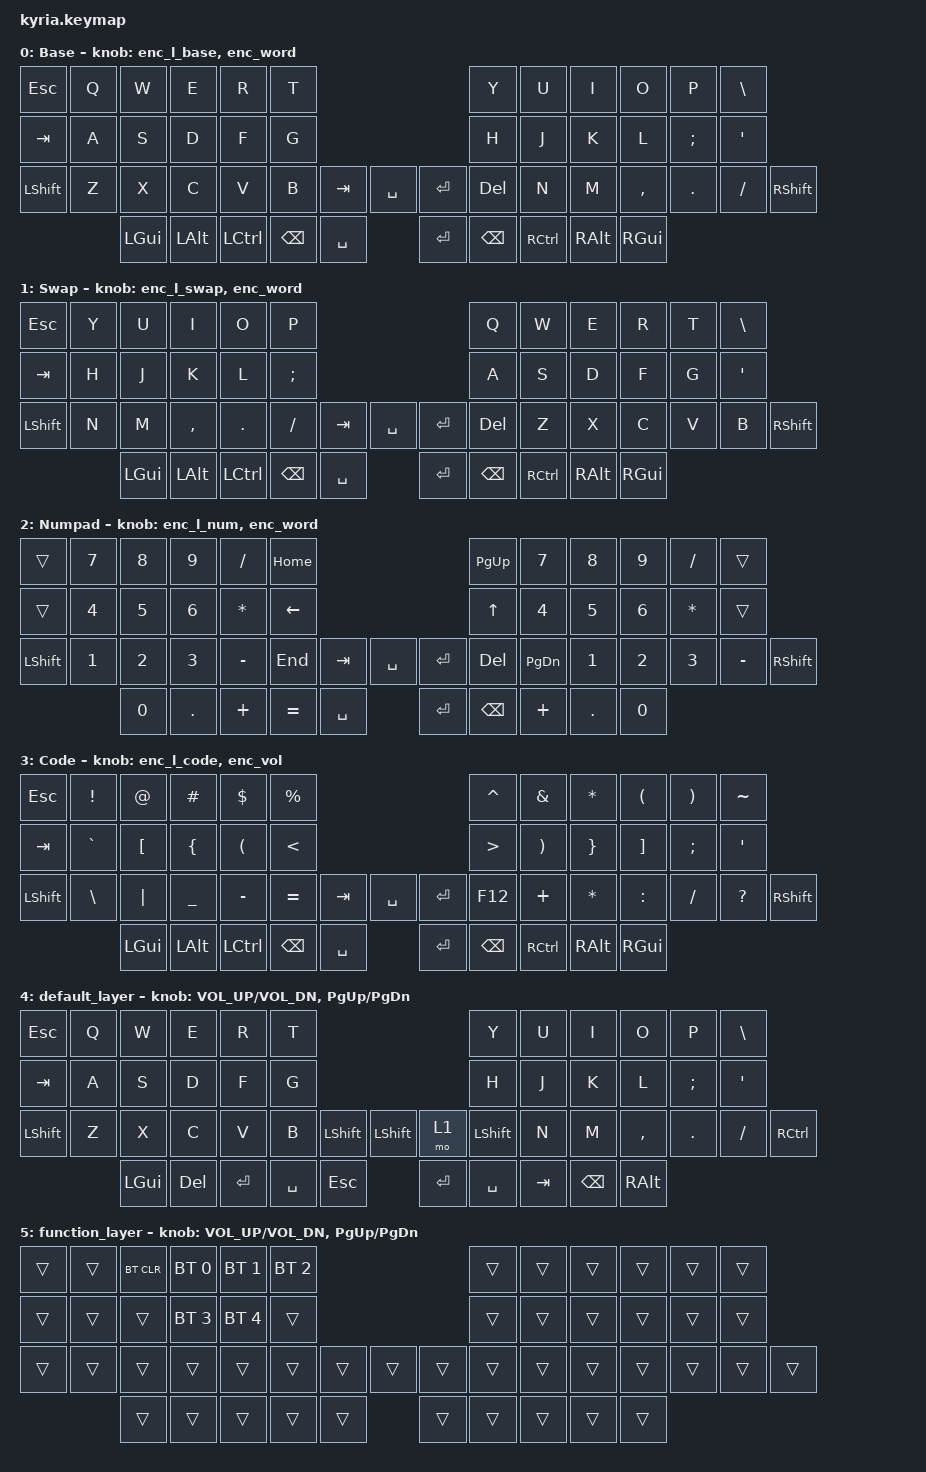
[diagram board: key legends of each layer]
/*
 * Kyria rev 1.3 ZMK profile — 4 layers
 *
 *   0 BASE   standard QWERTY
 *   1 SWAP   one-handed: whole halves exchanged (not column-mirrored)
 *   2 NUMPAD 3x3 pad centered on EACH half
 *   3 CODE   programming symbols + Bluetooth
 *
 * Hardware
 *   Encoders in the outside top corners.
 *   2u on the innermost thumb of each half (MXa22). That cap also
 *   covers the upper-inner switch (MX14), so there is no separate
 *   key sitting over Space / Enter.
 *
 * Encoders
 *   Left  rotate  = cycle  BASE → SWAP → NUMPAD → CODE → BASE
 *   Left  click   = Esc
 *   Right rotate  = word scroll (Ctrl+Left / Ctrl+Right)
 *   Right click   = Backslash
 *   Layer keys are omitted; the left encoder is the layer switch.
 *
 * Word / edit chords are Windows/Linux (Ctrl). For macOS:
 *   WORD_*  LC → LA
 *   COPY/PASTE/CUT/UNDO/REDO  LC → LG
 */

#include <behaviors.dtsi>
#include <dt-bindings/zmk/bt.h>
#include <dt-bindings/zmk/keys.h>
#include <dt-bindings/zmk/outputs.h>

#define BASE   0
#define SWAP   1
#define NUMPAD 2
#define CODE   3

#define WORD_NEXT LC(RIGHT)
#define WORD_PREV LC(LEFT)
#define WORD_DEL  LC(BSPC)

#define COPY  LC(C)
#define PASTE LC(V)
#define CUT   LC(X)
#define UNDO  LC(Z)
#define REDO  LC(Y)

/*
 * Key positions
 *
 *  ╭─────────────────────────╮           ╭─────────────────────────╮
 *  │  0   1   2   3   4   5  │           │  6   7   8   9  10  11  │
 *  │ 12  13  14  15  16  17  ╰─────╮ ╭─────╯ 18  19  20  21  22  23  │
 *  │ 24  25  26  27  28  29  30 31 │ │ 32 33  34  35  36  37  38  39  │
 *  ╰────────────╮ 40 41 42 43 44 │ │ 45 46 47 48 49 ╭────────────╯
 *               ╰────────────────╯ ╰────────────────╯
 *
 * 0 / 11  = encoder push (outside top corners)
 * 31 + 44 = left  2u  (upper-inner MX14 + innermost thumb) → Space
 * 32 + 45 = right 2u  (upper-inner MX14 + innermost thumb) → Enter
 */

&mt {
    tapping-term-ms = <180>;
    quick-tap-ms = <180>;
};

&lt {
    tapping-term-ms = <180>;
    quick-tap-ms = <180>;
};

/ {
    behaviors {
        enc_l_base: encoder_left_base {
            compatible = "zmk,behavior-sensor-rotate";
            #sensor-binding-cells = <0>;
            bindings = <&to SWAP>, <&to CODE>;
        };

        enc_l_swap: encoder_left_swap {
            compatible = "zmk,behavior-sensor-rotate";
            #sensor-binding-cells = <0>;
            bindings = <&to NUMPAD>, <&to BASE>;
        };

        enc_l_num: encoder_left_num {
            compatible = "zmk,behavior-sensor-rotate";
            #sensor-binding-cells = <0>;
            bindings = <&to CODE>, <&to SWAP>;
        };

        enc_l_code: encoder_left_code {
            compatible = "zmk,behavior-sensor-rotate";
            #sensor-binding-cells = <0>;
            bindings = <&to BASE>, <&to NUMPAD>;
        };

        enc_word: encoder_word {
            compatible = "zmk,behavior-sensor-rotate";
            #sensor-binding-cells = <0>;
            bindings = <&kp WORD_NEXT>, <&kp WORD_PREV>;
        };

        enc_vol: encoder_vol {
            compatible = "zmk,behavior-sensor-rotate";
            #sensor-binding-cells = <0>;
            bindings = <&kp C_VOL_UP>, <&kp C_VOL_DN>;
        };
    };

    keymap {
        compatible = "zmk,keymap";

        /* ------------------------------------------------------------------ */
        /* 0  BASE                                                            */
        /* ------------------------------------------------------------------ */
        base_layer {
            display-name = "Base";
            // ---------------------------------------------------------------------------------------------------------------------------------
            // |  ESC  |  Q  |  W  |  E  |  R  |  T  |                                       |  Y  |  U  |  I  |  O  |  P  |   \   |
            // |  TAB  |  A  |  S  |  D  |  F  |  G  |                                       |  H  |  J  |  K  |  L  |  ;  |   '   |
            // | SHIFT |  Z  |  X  |  C  |  V  |  B  | TAB | SPC |       | ENT | DEL |  N  |  M  |  ,  |  .  |  /  | SHIFT |
            //                | GUI | ALT | CTRL | BSPC | SPC |       | ENT | BSPC | CTRL | ALT | GUI |
            bindings = <
&kp ESC    &kp Q        &kp W        &kp E        &kp R        &kp T                                              &kp Y        &kp U        &kp I        &kp O        &kp P        &kp BSLH
&kp TAB    &kp A        &kp S        &kp D        &kp F        &kp G                                              &kp H        &kp J        &kp K        &kp L        &kp SEMI     &kp SQT
&kp LSHFT  &kp Z        &kp X        &kp C        &kp V        &kp B        &kp TAB     &kp SPACE    &kp RET     &kp DEL      &kp N        &kp M        &kp COMMA    &kp DOT      &kp FSLH     &kp RSHFT
                        &kp LGUI     &kp LALT     &kp LCTRL    &kp BSPC     &kp SPACE                &kp RET      &kp BSPC     &kp RCTRL    &kp RALT     &kp RGUI
            >;

            sensor-bindings = <&enc_l_base &enc_word>;
        };

        /* ------------------------------------------------------------------ */
        /* 1  SWAP — sides exchanged, same left-to-right order                */
        /*           Left types YUIOP / HJKL; / NM,./                         */
        /*           Right types QWERT / ASDFG / ZXCVB                        */
        /* ------------------------------------------------------------------ */
        swap_layer {
            display-name = "Swap";
            // ---------------------------------------------------------------------------------------------------------------------------------
            // |  ESC  |  Y  |  U  |  I  |  O  |  P  |                                       |  Q  |  W  |  E  |  R  |  T  |   \   |
            // |  TAB  |  H  |  J  |  K  |  L  |  ;  |                                       |  A  |  S  |  D  |  F  |  G  |   '   |
            // | SHIFT |  N  |  M  |  ,  |  .  |  /  | TAB | SPC |       | ENT | DEL |  Z  |  X  |  C  |  V  |  B  | SHIFT |
            //                | GUI | ALT | CTRL | BSPC | SPC |       | ENT | BSPC | CTRL | ALT | GUI |
            bindings = <
&kp ESC    &kp Y        &kp U        &kp I        &kp O        &kp P                                              &kp Q        &kp W        &kp E        &kp R        &kp T        &kp BSLH
&kp TAB    &kp H        &kp J        &kp K        &kp L        &kp SEMI                                            &kp A        &kp S        &kp D        &kp F        &kp G        &kp SQT
&kp LSHFT  &kp N        &kp M        &kp COMMA    &kp DOT      &kp FSLH     &kp TAB     &kp SPACE    &kp RET     &kp DEL      &kp Z        &kp X        &kp C        &kp V        &kp B        &kp RSHFT
                        &kp LGUI     &kp LALT     &kp LCTRL    &kp BSPC     &kp SPACE                &kp RET      &kp BSPC     &kp RCTRL    &kp RALT     &kp RGUI
            >;

            sensor-bindings = <&enc_l_swap &enc_word>;
        };

        /* ------------------------------------------------------------------ */
        /* 2  NUMPAD — 3-column pad centered on each half                     */
        /* ------------------------------------------------------------------ */
        numpad_layer {
            display-name = "Numpad";
            // ---------------------------------------------------------------------------------------------------------------------------------
            // |       |  7  |  8  |  9  |  /  | HOME|                                       |PGUP |  7  |  8  |  9  |  /  |       |
            // |       |  4  |  5  |  6  |  *  | LEFT|                                       | UP  |  4  |  5  |  6  |  *  |       |
            // | SHIFT |  1  |  2  |  3  |  -  | END | TAB | SPC |       | ENT | DEL |PGDN |  1  |  2  |  3  |  -  | SHIFT |
            //                |  0  |  .  |  +  |  =  | SPC |       | ENT | BSPC |  +  |  .  |  0  |
            bindings = <
&trans     &kp N7       &kp N8       &kp N9       &kp FSLH     &kp HOME                                            &kp PG_UP    &kp N7       &kp N8       &kp N9       &kp FSLH     &trans
&trans     &kp N4       &kp N5       &kp N6       &kp STAR     &kp LEFT                                            &kp UP       &kp N4       &kp N5       &kp N6       &kp STAR     &trans
&kp LSHFT  &kp N1       &kp N2       &kp N3       &kp MINUS    &kp END      &kp TAB     &kp SPACE    &kp RET     &kp DEL      &kp PG_DN    &kp N1       &kp N2       &kp N3       &kp MINUS    &kp RSHFT
                        &kp N0       &kp DOT      &kp PLUS     &kp EQUAL    &kp SPACE                &kp RET      &kp BSPC     &kp PLUS     &kp DOT      &kp N0
            >;

            sensor-bindings = <&enc_l_num &enc_word>;
        };

        /* ------------------------------------------------------------------ */
        /* 3  CODE                                                            */
        /* ------------------------------------------------------------------ */
        code_layer {
            display-name = "Code";
            // ---------------------------------------------------------------------------------------------------------------------------------
            // |  ESC  |  !  |  @  |  #  |  $  |  %  |                                       |  ^  |  &  |  *  |  (  |  )  |   ~   |
            // |  TAB  |  `  |  [  |  {  |  (  |  <  |                                       |  >  |  )  |  }  |  ]  |  ;  |   '   |
            // | SHIFT |  \  |  |  |  _  |  -  |  =  | TAB | SPC |       | ENT | F12 |  +  |  *  |  :  |  /  |  ?  | SHIFT |
            //                | GUI | ALT | CTRL | BSPC | SPC |       | ENT | BSPC | CTRL | ALT | GUI |
            bindings = <
&kp ESC    &kp EXCL     &kp AT       &kp HASH     &kp DLLR     &kp PRCNT                                           &kp CARET    &kp AMPS     &kp STAR     &kp LPAR     &kp RPAR     &kp TILDE
&kp TAB    &kp GRAVE    &kp LBKT     &kp LBRC     &kp LPAR     &kp LT                                              &kp GT       &kp RPAR     &kp RBRC     &kp RBKT     &kp SEMI     &kp SQT
&kp LSHFT  &kp BSLH     &kp PIPE     &kp UNDER    &kp MINUS    &kp EQUAL    &kp TAB     &kp SPACE    &kp RET     &kp F12      &kp PLUS     &kp STAR     &kp COLON    &kp FSLH     &kp QMARK    &kp RSHFT
                        &kp LGUI     &kp LALT     &kp LCTRL    &kp BSPC     &kp SPACE                &kp RET      &kp BSPC     &kp RCTRL    &kp RALT     &kp RGUI
            >;

            sensor-bindings = <&enc_l_code &enc_vol>;
        };
    };

    combos {
        compatible = "zmk,combos";

        combo_caps_word {
            timeout-ms = <50>;
            key-positions = <24 39>;
            bindings = <&caps_word>;
            layers = <BASE SWAP>;
        };

        /* ZXCV cluster on Base (left) */
        combo_undo {
            timeout-ms = <50>;
            key-positions = <25 26>;
            bindings = <&kp UNDO>;
            layers = <BASE>;
        };
        combo_cut {
            timeout-ms = <50>;
            key-positions = <26 27>;
            bindings = <&kp CUT>;
            layers = <BASE>;
        };
        combo_copy {
            timeout-ms = <50>;
            key-positions = <25 27>;
            bindings = <&kp COPY>;
            layers = <BASE>;
        };
        combo_paste {
            timeout-ms = <50>;
            key-positions = <27 28>;
            bindings = <&kp PASTE>;
            layers = <BASE>;
        };

        /* Same letters after the half-swap live on the right half */
        combo_undo_swap {
            timeout-ms = <50>;
            key-positions = <34 35>;
            bindings = <&kp UNDO>;
            layers = <SWAP>;
        };
        combo_cut_swap {
            timeout-ms = <50>;
            key-positions = <35 36>;
            bindings = <&kp CUT>;
            layers = <SWAP>;
        };
        combo_copy_swap {
            timeout-ms = <50>;
            key-positions = <34 36>;
            bindings = <&kp COPY>;
            layers = <SWAP>;
        };
        combo_paste_swap {
            timeout-ms = <50>;
            key-positions = <36 37>;
            bindings = <&kp PASTE>;
            layers = <SWAP>;
        };

        combo_redo {
            timeout-ms = <50>;
            key-positions = <6 7>; /* Y+U on Base */
            bindings = <&kp REDO>;
            layers = <BASE>;
        };
        combo_redo_swap {
            timeout-ms = <50>;
            key-positions = <1 2>; /* Y+U on Swap */
            bindings = <&kp REDO>;
            layers = <SWAP>;
        };

        combo_word_del {
            timeout-ms = <50>;
            key-positions = <43 46>; /* both BSPC thumbs */
            bindings = <&kp WORD_DEL>;
        };

        combo_down {
            timeout-ms = <50>;
            key-positions = <18 34>;
            bindings = <&kp DOWN>;
            layers = <NUMPAD>;
        };
        combo_right {
            timeout-ms = <50>;
            key-positions = <17 29>;
            bindings = <&kp RIGHT>;
            layers = <NUMPAD>;
        };

        combo_reset {
            timeout-ms = <80>;
            key-positions = <24 39>;
            bindings = <&sys_reset>;
            layers = <CODE>;
        };

        combo_bt_clr {
            timeout-ms = <60>;
            key-positions = <6 7>;
            bindings = <&bt BT_CLR>;
            layers = <CODE>;
        };
        combo_bt_0 {
            timeout-ms = <60>;
            key-positions = <7 8>;
            bindings = <&bt BT_SEL 0>;
            layers = <CODE>;
        };
        combo_bt_1 {
            timeout-ms = <60>;
            key-positions = <8 9>;
            bindings = <&bt BT_SEL 1>;
            layers = <CODE>;
        };
        combo_bt_2 {
            timeout-ms = <60>;
            key-positions = <9 10>;
            bindings = <&bt BT_SEL 2>;
            layers = <CODE>;
        };
        combo_out_usb {
            timeout-ms = <60>;
            key-positions = <18 19>;
            bindings = <&out OUT_USB>;
            layers = <CODE>;
        };
        combo_out_ble {
            timeout-ms = <60>;
            key-positions = <19 20>;
            bindings = <&out OUT_BLE>;
            layers = <CODE>;
        };
        combo_boot {
            timeout-ms = <80>;
            key-positions = <0 11>;
            bindings = <&bootloader>;
            layers = <CODE>;
        };
    };
};/*
 * Copyright (c) 2020 The ZMK Contributors
 *
 * SPDX-License-Identifier: MIT
 */

#include <behaviors.dtsi>
#include <dt-bindings/zmk/bt.h>
#include <dt-bindings/zmk/keys.h>

/ {
    keymap {
        compatible = "zmk,keymap";

        default_layer {
// ---------------------------------------------------------------------------------------------------------------------------------
// |  ESC  |  Q  |  W  |  E   |  R   |  T   |                                          |  Y   |  U    |  I    |  O   |   P   |   \  |
// |  TAB  |  A  |  S  |  D   |  F   |  G   |                                          |  H   |  J    |  K    |  L   |   ;   |   '  |
// | SHIFT |  Z  |  X  |  C   |  V   |  B   | L SHIFT | L SHIFT |  | LAYER 1 | L SHIFT |  N   |  M    |  ,    |  .   |   /   | CTRL |
//                     | GUI  | DEL  | RET  |  SPACE  |   ESC   |  |   RET   |  SPACE  | TAB  | BSPC  | R-ALT |
            bindings = <
    &kp ESC   &kp Q &kp W &kp E &kp R &kp T                                                &kp Y &kp U  &kp I     &kp O   &kp P    &kp BSLH
    &kp TAB   &kp A &kp S &kp D &kp F &kp G                                                &kp H &kp J  &kp K     &kp L   &kp SEMI &kp SQT
    &kp LSHFT &kp Z &kp X &kp C &kp V &kp B &kp LSHFT &kp LSHFT        &mo 1    &kp LSHFT  &kp N &kp M  &kp COMMA &kp DOT &kp FSLH &kp RCTRL
                     &kp LGUI &kp DEL &kp RET &kp SPACE &kp ESC        &kp RET  &kp SPACE  &kp TAB &kp BSPC &kp RALT
            >;

            sensor-bindings = <&inc_dec_kp C_VOL_UP C_VOL_DN &inc_dec_kp PG_UP PG_DN>;
        };
        function_layer {
// ---------------------------------------------------------------------------------------------------------------------------------
// |       |      |BT_CLR|BTSEL0|BTSEL1|BTSEL2|                                         |      |      |      |      |      |      |
// |       |      |      |BTSEL3|BTSEL4|      |                                         |      |      |      |      |      |      |
// |       |      |      |      |      |      |      |      |      |      |      |      |      |      |      |      |      |      |
//                       |      |      |      |      |      |      |      |      |      |      |      |      |
            bindings = <
    &trans &trans &bt BT_CLR &bt BT_SEL 0 &bt BT_SEL 1 &bt BT_SEL 2              &trans &trans &trans &trans &trans &trans
    &trans &trans &trans     &bt BT_SEL 3 &bt BT_SEL 4 &trans                    &trans &trans &trans &trans &trans &trans
    &trans &trans &trans &trans &trans &trans &trans &trans        &trans &trans &trans &trans &trans &trans &trans &trans
                         &trans &trans &trans &trans &trans        &trans &trans &trans &trans &trans
            >;

            sensor-bindings = <&inc_dec_kp C_VOL_UP C_VOL_DN &inc_dec_kp PG_UP PG_DN>;
        };
    };
};
